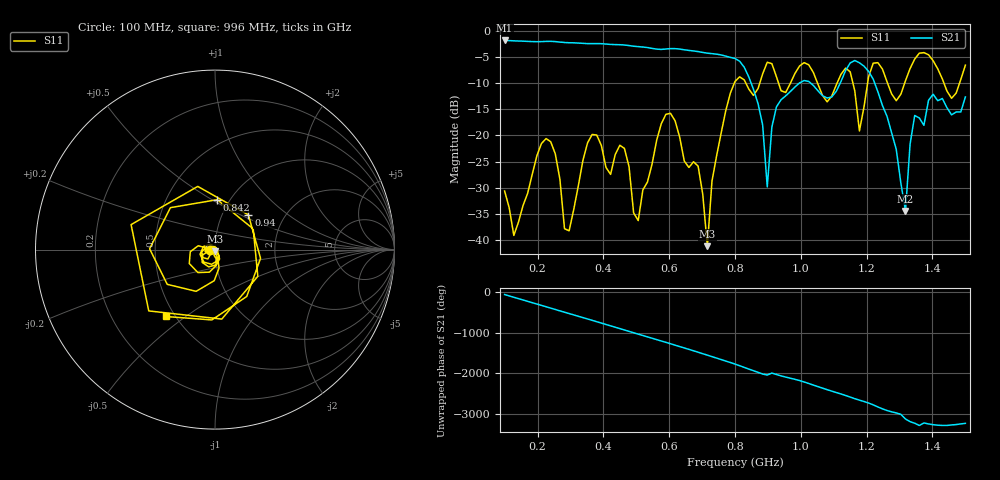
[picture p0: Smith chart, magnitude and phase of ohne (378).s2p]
! NanoVNA-App
! Date: 2025-09-25 14:23:44
! Start: 100MHz Stop: 1,5GHz Points: 101
! S-Parameter data: F S11 S21 S12 S22
# Hz S RI R 50
!  Frequency  S11_Real  S11_Imag  S21_Real  S21_Imag  S12_Real  S12_Imag  S22_Real  S22_Imag
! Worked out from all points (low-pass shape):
!   101 points, 100 MHz to 1.5 GHz, reference 50 ohm
!   highest |S21| = -1.79 dB at 100 MHz (marker M1); lowest = -34.5 dB at 1.318 GHz (marker M2)
!   |S21| within 3 dB of the highest: start of sweep to 771.8 MHz
!   lowest |S11| = -41.2 dB at 716 MHz (marker M3), VSWR 1.02, Z = 49.8 - j0.854 ohm
!   |S11| at or under -10 dB: start of sweep to 797.8 MHz; 833.2 MHz to 875.1 MHz (41.85 MHz wide, 4.9 % of centre); 1.051 GHz to 1.11 GHz (59.02 MHz wide, 5.46 % of centre) (the widest 3 of 7)
!   S12 and S22 are empty: the file has one direction only
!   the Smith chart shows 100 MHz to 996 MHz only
!   S11 on the Smith chart (normalised r, x): 100 MHz: 0.94, -0.01; 842 MHz: 0.88, +0.53; 940 MHz: 1.33, +0.55; 996 MHz: 0.45, -0.42
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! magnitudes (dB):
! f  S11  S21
! 100 MHz  -30.6  -1.8
! 128 MHz  -39.1  -1.9
! 226 MHz  -20.6  -2.0
! 296 MHz  -38.3  -2.2
! 338 MHz  -24.7  -2.3
! 464 MHz  -22.5  -2.7
! 506 MHz  -36.3  -3.0
! 576 MHz  -17.8  -3.5
! 688 MHz  -25.9  -3.9
! 716 MHz  -41.2  -4.2
! 800 MHz  -9.7  -5.3
! 842 MHz  -11.1  -8.8
! 898 MHz  -6.0  -29.9
! 940 MHz  -11.4  -13.1
! 996 MHz  -6.7  -9.9
! 1.038 GHz  -7.9  -10.4
! 1.178 GHz  -19.1  -6.1
! 1.22 GHz  -6.1  -9.2
! 1.276 GHz  -12.0  -19.5
! 1.318 GHz  -9.5  -34.5
! 1.346 GHz  -5.4  -16.2
! 1.5 GHz  -6.5  -12.6
